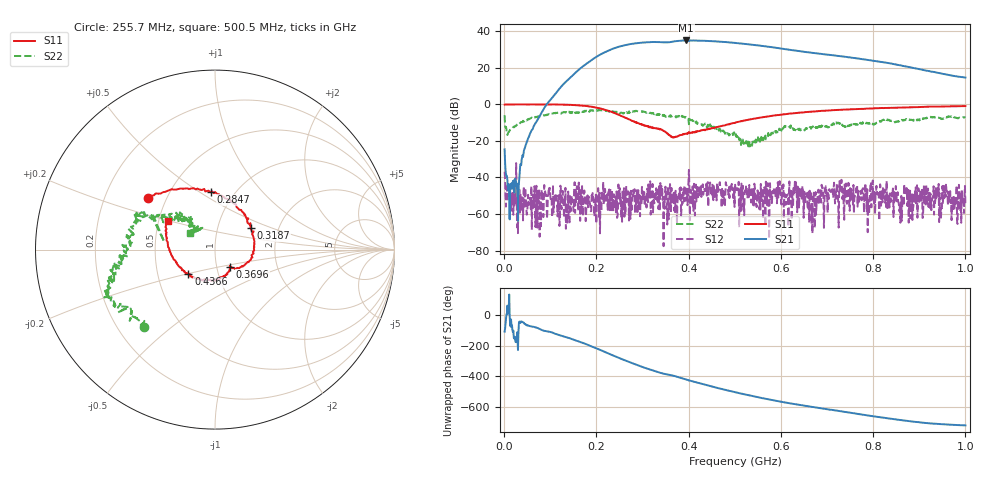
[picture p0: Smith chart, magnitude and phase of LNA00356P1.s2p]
! Created with skrf 1.9.0 (http://scikit-rf.org).
# Hz S RI R 50.0
!freq ReS11 ImS11 ReS21 ImS21 ReS12 ImS12 ReS22 ImS22
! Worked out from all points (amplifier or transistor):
!   1001 points, 1 MHz to 1 GHz, reference 50 ohm
!   highest |S21| = 35.0 dB at 394.6 MHz (marker M1)
!   |S21| within 3 dB of that: 255.5 MHz to 558.8 MHz (303.3 MHz wide, 74.5 % of centre)
!   unconditionally stable (mu >= 1): 4.577 MHz to 72.69 MHz; 316.8 MHz to 400.2 MHz; 400.8 MHz to end of sweep (the widest 3 of 34)
!   at 166.8 MHz: K = 1.61, MAG = 31.0 dB, |S12| = -51.2 dB
!   at 500.5 MHz: K = 1.54, MAG = 34.2 dB, |S12| = -43.3 dB
!   at 1 GHz: K = 7.42, MAG = 22.9 dB, |S12| = -54.5 dB
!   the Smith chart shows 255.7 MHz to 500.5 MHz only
!   S11 on the Smith chart (normalised r, x): 255.7 MHz: 0.39, +0.29; 284.7 MHz: 0.78, +0.56; 318.7 MHz: 1.45, +0.36; 369.6 MHz: 1.16, -0.22; 436.6 MHz: 0.72, -0.21; 500.5 MHz: 0.56, +0.20
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1000000  0.9871 -0.000718  -0.0182 -0.0559  -0.0132 -0.00555  0.3725 0.3408
1.07893e8  0.5181 -0.851  -0.8183 -1.546  -0.000565 -0.00173  0.4295 -0.3877
1.67833e8  -0.2563 -0.892  -10.3 -0.2721  -0.000254 0.00104  0.021 -0.6415
2.12788e8  -0.6867 -0.3027  -14.66 19.82  -0.00207 -0.00187  -0.2302 -0.6398
2.32768e8  -0.6215 0.0293  -5.766 31.74  0.00115 -4.76e-05  -0.2763 -0.5803
2.55745e8  -0.3749 0.2855  12.77 37.76  0.000404 0.000461  -0.3968 -0.4339
2.84716e8  -0.0241 0.321  37.19 28.56  0.00123 -0.00112  -0.5922 -0.2635
3.18682e8  0.2023 0.1183  50.84 1.344  -8.2e-05 0.00164  -0.554 -0.1381
3.34666e8  0.2108 -0.0127  49.13 -12.51  0.00122 0.000608  -0.5319 -0.0561
3.69631e8  0.0848 -0.0952  41.18 -33.59  0.000561 0.0033  -0.4557 0.144
3.94606e8  0.0425 -0.1524  26.69 -49.45  -0.000241 0.0028  -0.4021 0.2021
4.15585e8  -0.0512 -0.1765  10.05 -55.02  0.00029 0.00639  -0.2405 0.1999
4.36564e8  -0.1477 -0.1376  -6.556 -54.44  0.00352 0.00233  -0.2068 0.1889
4.69531e8  -0.2518 -0.00355  -27.69 -43.89  0.00393 0.000469  -0.1165 0.1385
5.005e8  -0.264 0.1613  -39.46 -28.03  0.000386 -0.00684  -0.1381 0.0917
5.36464e8  -0.1927 0.3437  -42.21 -8.039  0.00294 -0.00217  -0.0757 0.00876
5.83417e8  0.0163 0.492  -34.38 11.4  0.00286 -0.0023  -0.1566 -0.0685
6.18382e8  0.1817 0.5271  -24.9 18.87  0.00724 -0.00285  -0.2378 -0.0657
6.67333e8  0.4086 0.4842  -12.33 22.52  -0.000189 -0.002  -0.2373 -0.0101
7.55245e8  0.6854 0.266  3.817 18.46  -0.00343 -0.000726  -0.2779 0.0448
8.34166e8  0.8013 0.00792  9.862 9.125  0.00255 0.00147  -0.3772 0.038
1e9  0.7233 -0.5343  5.43 -0.2601  -0.00181 0.000542  -0.2727 0.3408
